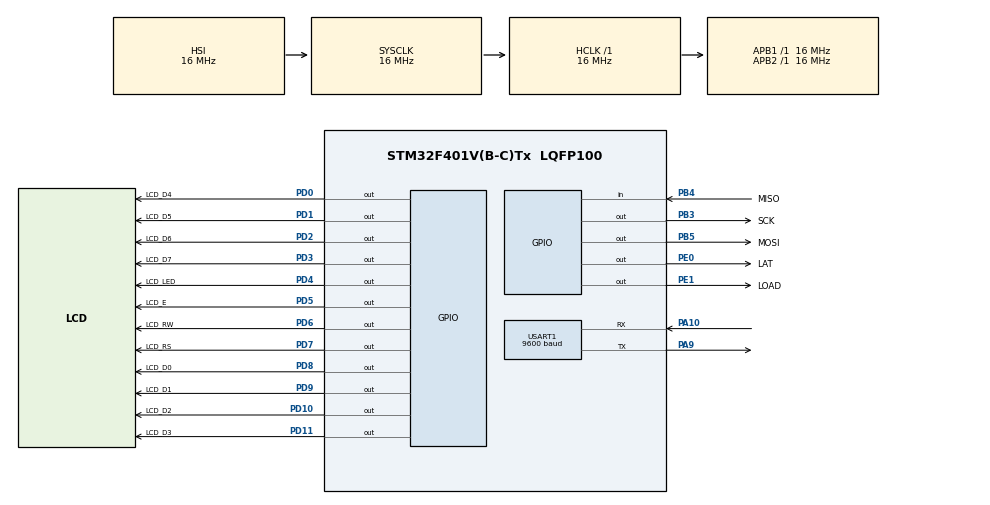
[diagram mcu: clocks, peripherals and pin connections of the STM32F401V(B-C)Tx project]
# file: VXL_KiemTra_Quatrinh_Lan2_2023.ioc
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Mcu.Family=STM32F4
Mcu.Name=STM32F401V(B-C)Tx
Mcu.Package=LQFP100
NVIC.PriorityGroup=NVIC_PRIORITYGROUP_4
PA10.Mode=Asynchronous
PA10.Signal=USART1_RX
PA13.Mode=Serial_Wire
PA13.Signal=SYS_JTMS-SWDIO
PA14.Mode=Serial_Wire
PA14.Signal=SYS_JTCK-SWCLK
PA9.Mode=Asynchronous
PA9.Signal=USART1_TX
PB3.GPIO_Label=SCK
PB3.Signal=GPIO_Output
PB4.GPIO_Label=MISO
PB4.Signal=GPIO_Input
PB5.GPIO_Label=MOSI
PB5.Signal=GPIO_Output
PD0.GPIO_Label=LCD_D4
PD0.Signal=GPIO_Output
PD1.GPIO_Label=LCD_D5
PD1.Signal=GPIO_Output
PD10.GPIO_Label=LCD_D2
PD10.Signal=GPIO_Output
PD11.GPIO_Label=LCD_D3
PD11.Signal=GPIO_Output
PD2.GPIO_Label=LCD_D6
PD2.Signal=GPIO_Output
PD3.GPIO_Label=LCD_D7
PD3.Signal=GPIO_Output
PD4.GPIO_Label=LCD_LED
PD4.Signal=GPIO_Output
PD5.GPIO_Label=LCD_E
PD5.Signal=GPIO_Output
PD6.GPIO_Label=LCD_RW
PD6.Signal=GPIO_Output
PD7.GPIO_Label=LCD_RS
PD7.Signal=GPIO_Output
PD8.GPIO_Label=LCD_D0
PD8.Signal=GPIO_Output
PD9.GPIO_Label=LCD_D1
PD9.Signal=GPIO_Output
PE0.GPIO_Label=LAT
PE0.Signal=GPIO_Output
PE1.GPIO_Label=LOAD
PE1.Signal=GPIO_Output
ProjectManager.HeapSize=0x200
ProjectManager.StackSize=0x400
ProjectManager.TargetToolchain=MDK-ARM V5.32
RCC.AHBFreq_Value=16000000
RCC.APB1Freq_Value=16000000
RCC.APB2Freq_Value=16000000
RCC.CortexFreq_Value=16000000
RCC.HSE_VALUE=25000000
RCC.HSI_VALUE=16000000
RCC.LSE_VALUE=32768
RCC.SYSCLKFreq_VALUE=16000000
RCC.VCOOutputFreq_Value=192000000
USART1.BaudRate=9600
USART1.VirtualMode=VM_ASYNC
board=custom

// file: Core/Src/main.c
/* USER CODE BEGIN Header */
/**
  ******************************************************************************
  * @file           : main.c
  * @brief          : Main program body
  ******************************************************************************
  * @attention
  *
  * Copyright (c) 2023 STMicroelectronics.
  * All rights reserved.
  *
  * This software is licensed under terms that can be found in the LICENSE file
  * in the root directory of this software component.
  * If no LICENSE file comes with this software, it is provided AS-IS.
  *
  ******************************************************************************
  */
/* USER CODE END Header */
#include "main.h"

/* USER CODE BEGIN Includes */
#include "hchi_LCD.h"

#include <stdio.h>
/* USER CODE END Includes */

/* USER CODE BEGIN PD */
#define B1_PRESSED	GPIO_PIN_RESET //0
#define B2_PRESSED	GPIO_PIN_RESET //0
#define B3_PRESSED	GPIO_PIN_RESET //0
#define B4_PRESSED	GPIO_PIN_RESET //0
/* USER CODE END PD */

UART_HandleTypeDef huart1;

/* USER CODE BEGIN PV */
uint8_t B1 = 0;
uint8_t B2 = 0;
uint8_t B3 = 0;
uint8_t B4 = 0;
uint8_t B1SystemState = 0;
uint8_t B2SystemState = 0;
uint8_t B3SystemState = 0;
uint8_t B4SystemState = 0;
uint32_t count = 86395;
uint32_t ON_cnt =0;
uint8_t sec =0;
uint8_t min =0;
uint8_t hour =0;
/* USER CODE END PV */

void SystemClock_Config(void);
static void MX_GPIO_Init(void);
static void MX_USART1_UART_Init(void);

/* USER CODE BEGIN 0 */
/*struct __FILE
{
  int handle;
};*/
FILE __stdout;
int fputc(int ch, FILE *f)
{
	HAL_GPIO_WritePin(LCD_RS_GPIO_Port,LCD_RS_Pin,GPIO_PIN_SET); // data
	LCD_put((uint8_t)ch);
  return ch;
}
/* USER CODE END 0 */
uint8_t  a = 2;
int main(void)
{

  /* MCU Configuration--------------------------------------------------------*/

  /* Reset of all peripherals, Initializes the Flash interface and the Systick. */
  HAL_Init();

  /* Configure the system clock */
  SystemClock_Config();

  /* Initialize all configured peripherals */
  MX_GPIO_Init();
  MX_USART1_UART_Init();
  /* USER CODE BEGIN 2 */
	LCD_init();

	HAL_GPIO_WritePin(LOAD_GPIO_Port, LOAD_Pin,GPIO_PIN_SET);
	HAL_GPIO_WritePin(SCK_GPIO_Port, SCK_Pin,GPIO_PIN_SET);
	uint8_t DATAIN = 0;

  /* USER CODE END 2 */

  /* Infinite loop */
  /* USER CODE BEGIN WHILE */
  while (1)
  {
		if( a == 3 ) HAL_GPIO_WritePin(LCD_LED_GPIO_Port,LCD_LED_Pin,1);
    /* USER CODE END WHILE */
		// Scan Input
		/*HAL_GPIO_WritePin(LOAD_GPIO_Port, LOAD_Pin, GPIO_PIN_RESET);
		HAL_GPIO_WritePin(LOAD_GPIO_Port, LOAD_Pin, GPIO_PIN_SET);
		DATAIN = 0;
		for (uint8_t i = 0; i < 8; i++) {
			HAL_GPIO_WritePin(SCK_GPIO_Port, SCK_Pin, GPIO_PIN_RESET);
			DATAIN = DATAIN|HAL_GPIO_ReadPin(MISO_GPIO_Port, MISO_Pin);
			HAL_GPIO_WritePin(SCK_GPIO_Port, SCK_Pin, GPIO_PIN_SET);
			if (i<7) DATAIN = DATAIN << 1;
		}
		B1 = (GPIO_PinState) (DATAIN & 0x01);
		B2 =  (DATAIN >>5&1);
		B3 = (GPIO_PinState) (DATAIN & 0x40);
		B4 = (GPIO_PinState) (DATAIN & 0x80);

		// State control
		if ((B1SystemState == 0) && (B1 == B1_PRESSED))
				B1SystemState = 1;
		else if ((B1SystemState == 2) && (B1 != B1_PRESSED))
				B1SystemState = 0;

		if ((B2SystemState == 0) && (B2 == B2_PRESSED))
				B2SystemState = 1;
		else if ((B2SystemState == 2) && (B2 != B2_PRESSED))
				B2SystemState = 0;

		if ((B3SystemState == 0) && (B3 == B3_PRESSED))
				B3SystemState = 1;
		else if ((B3SystemState == 2) && (B3 != B3_PRESSED))
				B3SystemState = 0;

		if ((B4SystemState == 0) && (B4 == B4_PRESSED))
				B4SystemState = 1;
		else if ((B4SystemState == 2) && (B4 != B4_PRESSED))
				B4SystemState = 0;

		// Output control
		if (B1SystemState == 1) {
			B4SystemState = 2;
			count = count +1 ;
			B1SystemState = 2;
		}
		else if (B2SystemState == 1) {
			B4SystemState = 2;
			count = count -1 ;
			B2SystemState = 2;
		}
		else if  (B3SystemState == 1) {
			B4SystemState = 2;
			count = 0;
			B3SystemState = 2;
		}
		else if  (B4SystemState == 1) {
				if (ON_cnt < 40) // 	thoi gian tang khong chinh xac
				{
					LCD_gotoXY(0,0);
					printf("%02d:%02d:%02d",hour,min,sec);
				}
				else { ON_cnt = 0; count = count +1;} // reset
				ON_cnt+=1;
				HAL_Delay(1);
			//B4SystemState = 2;
		}
		if (count > 86399) count = 0;
		hour = count/3600;
		min = (count%3600)/60;
		sec = (count%3600)%60;

		// Output
		LCD_gotoXY(0,0);
		printf("%02d:%02d:%02d",hour,min,sec);*/

  }
}

void SystemClock_Config(void)
{
  RCC_OscInitTypeDef RCC_OscInitStruct = {0};
  RCC_ClkInitTypeDef RCC_ClkInitStruct = {0};

  /** Configure the main internal regulator output voltage
  */
  __HAL_RCC_PWR_CLK_ENABLE();
  __HAL_PWR_VOLTAGESCALING_CONFIG(PWR_REGULATOR_VOLTAGE_SCALE2);

  /** Initializes the RCC Oscillators according to the specified parameters
  * in the RCC_OscInitTypeDef structure.
  */
  RCC_OscInitStruct.OscillatorType = RCC_OSCILLATORTYPE_HSI;
  RCC_OscInitStruct.HSIState = RCC_HSI_ON;
  RCC_OscInitStruct.HSICalibrationValue = RCC_HSICALIBRATION_DEFAULT;
  RCC_OscInitStruct.PLL.PLLState = RCC_PLL_NONE;
  if (HAL_RCC_OscConfig(&RCC_OscInitStruct) != HAL_OK)
  {
    Error_Handler();
  }

  /** Initializes the CPU, AHB and APB buses clocks
  */
  RCC_ClkInitStruct.ClockType = RCC_CLOCKTYPE_HCLK|RCC_CLOCKTYPE_SYSCLK
                              |RCC_CLOCKTYPE_PCLK1|RCC_CLOCKTYPE_PCLK2;
  RCC_ClkInitStruct.SYSCLKSource = RCC_SYSCLKSOURCE_HSI;
  RCC_ClkInitStruct.AHBCLKDivider = RCC_SYSCLK_DIV1;
  RCC_ClkInitStruct.APB1CLKDivider = RCC_HCLK_DIV1;
  RCC_ClkInitStruct.APB2CLKDivider = RCC_HCLK_DIV1;

  if (HAL_RCC_ClockConfig(&RCC_ClkInitStruct, FLASH_LATENCY_0) != HAL_OK)
  {
    Error_Handler();
  }
}

static void MX_USART1_UART_Init(void)
{

  huart1.Instance = USART1;
  huart1.Init.BaudRate = 9600;
  huart1.Init.WordLength = UART_WORDLENGTH_8B;
  huart1.Init.StopBits = UART_STOPBITS_1;
  huart1.Init.Parity = UART_PARITY_NONE;
  huart1.Init.Mode = UART_MODE_TX_RX;
  huart1.Init.HwFlowCtl = UART_HWCONTROL_NONE;
  huart1.Init.OverSampling = UART_OVERSAMPLING_16;
  if (HAL_UART_Init(&huart1) != HAL_OK)
  {
    Error_Handler();
  }

}

static void MX_GPIO_Init(void)
{
  GPIO_InitTypeDef GPIO_InitStruct = {0};

  /* GPIO Ports Clock Enable */
  __HAL_RCC_GPIOE_CLK_ENABLE();
  __HAL_RCC_GPIOC_CLK_ENABLE();
  __HAL_RCC_GPIOH_CLK_ENABLE();
  __HAL_RCC_GPIOA_CLK_ENABLE();
  __HAL_RCC_GPIOB_CLK_ENABLE();
  __HAL_RCC_GPIOD_CLK_ENABLE();

  /*Configure GPIO pin Output Level */
  HAL_GPIO_WritePin(GPIOD, LCD_D0_Pin|LCD_D1_Pin|LCD_D2_Pin|LCD_D3_Pin
                          |LCD_D4_Pin|LCD_D5_Pin|LCD_D6_Pin|LCD_D7_Pin
                          |LCD_LED_Pin|LCD_E_Pin|LCD_RW_Pin|LCD_RS_Pin, GPIO_PIN_RESET);

  /*Configure GPIO pin Output Level */
  HAL_GPIO_WritePin(GPIOB, SCK_Pin|MOSI_Pin, GPIO_PIN_RESET);

  /*Configure GPIO pin Output Level */
  HAL_GPIO_WritePin(GPIOE, LAT_Pin|LOAD_Pin, GPIO_PIN_RESET);

  /*Configure GPIO pins : PE2 PE3 PE4 PE5
                           PE6 PE7 PE8 PE9
                           PE10 PE11 PE12 PE13
                           PE14 PE15 */
  GPIO_InitStruct.Pin = GPIO_PIN_2|GPIO_PIN_3|GPIO_PIN_4|GPIO_PIN_5
                          |GPIO_PIN_6|GPIO_PIN_7|GPIO_PIN_8|GPIO_PIN_9
                          |GPIO_PIN_10|GPIO_PIN_11|GPIO_PIN_12|GPIO_PIN_13
                          |GPIO_PIN_14|GPIO_PIN_15;
  GPIO_InitStruct.Mode = GPIO_MODE_ANALOG;
  GPIO_InitStruct.Pull = GPIO_NOPULL;
  HAL_GPIO_Init(GPIOE, &GPIO_InitStruct);

  /*Configure GPIO pins : PC13 PC14 PC15 PC0
                           PC1 PC2 PC3 PC4
                           PC5 PC6 PC7 PC8
                           PC9 PC10 PC11 PC12 */
  GPIO_InitStruct.Pin = GPIO_PIN_13|GPIO_PIN_14|GPIO_PIN_15|GPIO_PIN_0
                          |GPIO_PIN_1|GPIO_PIN_2|GPIO_PIN_3|GPIO_PIN_4
                          |GPIO_PIN_5|GPIO_PIN_6|GPIO_PIN_7|GPIO_PIN_8
                          |GPIO_PIN_9|GPIO_PIN_10|GPIO_PIN_11|GPIO_PIN_12;
  GPIO_InitStruct.Mode = GPIO_MODE_ANALOG;
  GPIO_InitStruct.Pull = GPIO_NOPULL;
  HAL_GPIO_Init(GPIOC, &GPIO_InitStruct);

  /*Configure GPIO pins : PH0 PH1 */
  GPIO_InitStruct.Pin = GPIO_PIN_0|GPIO_PIN_1;
  GPIO_InitStruct.Mode = GPIO_MODE_ANALOG;
  GPIO_InitStruct.Pull = GPIO_NOPULL;
  HAL_GPIO_Init(GPIOH, &GPIO_InitStruct);

  /*Configure GPIO pins : PA0 PA1 PA2 PA3
                           PA4 PA5 PA6 PA7
                           PA8 PA11 PA12 PA15 */
  GPIO_InitStruct.Pin = GPIO_PIN_0|GPIO_PIN_1|GPIO_PIN_2|GPIO_PIN_3
                          |GPIO_PIN_4|GPIO_PIN_5|GPIO_PIN_6|GPIO_PIN_7
                          |GPIO_PIN_8|GPIO_PIN_11|GPIO_PIN_12|GPIO_PIN_15;
  GPIO_InitStruct.Mode = GPIO_MODE_ANALOG;
  GPIO_InitStruct.Pull = GPIO_NOPULL;
  HAL_GPIO_Init(GPIOA, &GPIO_InitStruct);

  /*Configure GPIO pins : PB0 PB1 PB2 PB10
                           PB12 PB13 PB14 PB15
                           PB6 PB7 PB8 PB9 */
  GPIO_InitStruct.Pin = GPIO_PIN_0|GPIO_PIN_1|GPIO_PIN_2|GPIO_PIN_10
                          |GPIO_PIN_12|GPIO_PIN_13|GPIO_PIN_14|GPIO_PIN_15
                          |GPIO_PIN_6|GPIO_PIN_7|GPIO_PIN_8|GPIO_PIN_9;
  GPIO_InitStruct.Mode = GPIO_MODE_ANALOG;
  GPIO_InitStruct.Pull = GPIO_NOPULL;
  HAL_GPIO_Init(GPIOB, &GPIO_InitStruct);

  /*Configure GPIO pins : LCD_D0_Pin LCD_D1_Pin LCD_D2_Pin LCD_D3_Pin
                           LCD_D4_Pin LCD_D5_Pin LCD_D6_Pin LCD_D7_Pin
                           LCD_LED_Pin LCD_E_Pin LCD_RW_Pin LCD_RS_Pin */
  GPIO_InitStruct.Pin = LCD_D0_Pin|LCD_D1_Pin|LCD_D2_Pin|LCD_D3_Pin
                          |LCD_D4_Pin|LCD_D5_Pin|LCD_D6_Pin|LCD_D7_Pin
                          |LCD_LED_Pin|LCD_E_Pin|LCD_RW_Pin|LCD_RS_Pin;
  GPIO_InitStruct.Mode = GPIO_MODE_OUTPUT_PP;
  GPIO_InitStruct.Pull = GPIO_NOPULL;
  GPIO_InitStruct.Speed = GPIO_SPEED_FREQ_LOW;
  HAL_GPIO_Init(GPIOD, &GPIO_InitStruct);

  /*Configure GPIO pins : PD12 PD13 PD14 PD15 */
  GPIO_InitStruct.Pin = GPIO_PIN_12|GPIO_PIN_13|GPIO_PIN_14|GPIO_PIN_15;
  GPIO_InitStruct.Mode = GPIO_MODE_ANALOG;
  GPIO_InitStruct.Pull = GPIO_NOPULL;
  HAL_GPIO_Init(GPIOD, &GPIO_InitStruct);

  /*Configure GPIO pins : SCK_Pin MOSI_Pin */
  GPIO_InitStruct.Pin = SCK_Pin|MOSI_Pin;
  GPIO_InitStruct.Mode = GPIO_MODE_OUTPUT_PP;
  GPIO_InitStruct.Pull = GPIO_NOPULL;
  GPIO_InitStruct.Speed = GPIO_SPEED_FREQ_LOW;
  HAL_GPIO_Init(GPIOB, &GPIO_InitStruct);

  /*Configure GPIO pin : MISO_Pin */
  GPIO_InitStruct.Pin = MISO_Pin;
  GPIO_InitStruct.Mode = GPIO_MODE_INPUT;
  GPIO_InitStruct.Pull = GPIO_NOPULL;
  HAL_GPIO_Init(MISO_GPIO_Port, &GPIO_InitStruct);

  /*Configure GPIO pins : LAT_Pin LOAD_Pin */
  GPIO_InitStruct.Pin = LAT_Pin|LOAD_Pin;
  GPIO_InitStruct.Mode = GPIO_MODE_OUTPUT_PP;
  GPIO_InitStruct.Pull = GPIO_NOPULL;
  GPIO_InitStruct.Speed = GPIO_SPEED_FREQ_LOW;
  HAL_GPIO_Init(GPIOE, &GPIO_InitStruct);

}

void Error_Handler(void)
{
  __disable_irq();
  while (1)
  {
  }
}
